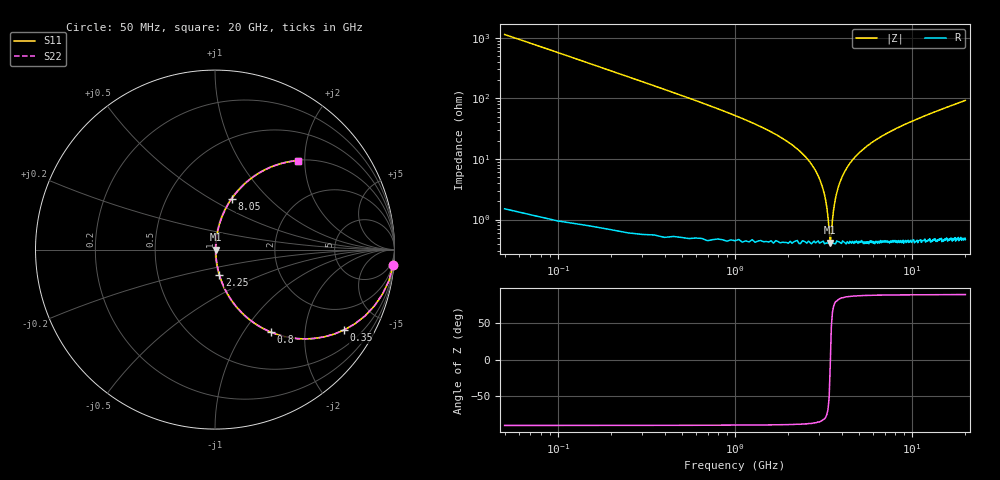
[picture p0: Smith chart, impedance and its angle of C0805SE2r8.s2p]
! AVX Thin Film Operation		Date: April 2012
! Description: Accu-P® Series, Thin Film, SMD, RF Capacitor
! Part Number: 08051J2R8QBTTR
!	100	MHz	-	20.05	GHz
!	Serial	Measurements
#	MHZ	S	MA	R	50
!	S11	S21	S12	S22
!	dB	Phase	dB	Phase	dB	Phase	dB	Phase
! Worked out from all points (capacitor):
!   400 points, 50 MHz to 20 GHz, reference 50 ohm
!   read as one part in series: C = 2.8 pF near 150 MHz
!   lowest |Z| = 414 mohm at 3.45 GHz (marker M1)
!   series resonance near 3.456 GHz, so ESL is about 760 pH
!   S11 on the Smith chart (normalised r, x): 50 MHz: 1, -23; 350 MHz: 1.01, -3.22; 800 MHz: 1.01, -1.34; 2.25 GHz: 1.01, -0.29; 8.05 GHz: 1.01, +0.62; 20 GHz: 1.01, +1.85
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50  0.996 -5.0  0.088 84.9  0.088 84.9  0.996 -5.0
100  0.985 -10.0  0.173 79.9  0.173 79.9  0.985 -10.0
150  0.966 -14.8  0.255 75.1  0.255 75.1  0.966 -14.8
350  0.848 -31.8  0.527 58.0  0.527 58.0  0.848 -31.8
800  0.556 -55.8  0.827 33.8  0.827 33.8  0.556 -55.8
1350  0.335 -69.7  0.938 19.6  0.938 19.6  0.335 -69.7
2250  0.143 -80.1  0.985 8.2  0.985 8.2  0.143 -80.1
3000  0.047 -82.2  0.995 2.7  0.995 2.7  0.047 -82.2
3250  0.021 -77.1  0.996 1.2  0.996 1.2  0.021 -77.1
3400  0.006752 -51.5  0.996 0.3  0.996 0.3  0.006752 -51.5
3450  0.004211 -7.1  0.996 0.0  0.996 0.0  0.004211 -7.1
3600  0.014 71.9  0.996 -0.8  0.996 -0.8  0.014 71.9
3700  0.023 78.2  0.996 -1.3  0.996 -1.3  0.023 78.2
3900  0.04 81.7  0.995 -2.3  0.995 -2.3  0.04 81.7
4200  0.064 82.6  0.994 -3.7  0.994 -3.7  0.064 82.6
5100  0.13 80.7  0.987 -7.5  0.987 -7.5  0.13 80.7
6700  0.227 75.8  0.97 -13.1  0.97 -13.1  0.227 75.8
8050  0.297 71.9  0.951 -17.3  0.951 -17.3  0.297 71.9
10050  0.387 66.6  0.918 -22.8  0.918 -22.8  0.387 66.6
13350  0.508 59.0  0.857 -30.6  0.857 -30.6  0.508 59.0
16700  0.604 52.5  0.793 -37.1  0.793 -37.1  0.604 52.5
20000  0.677 47.1  0.733 -42.6  0.733 -42.6  0.677 47.1
